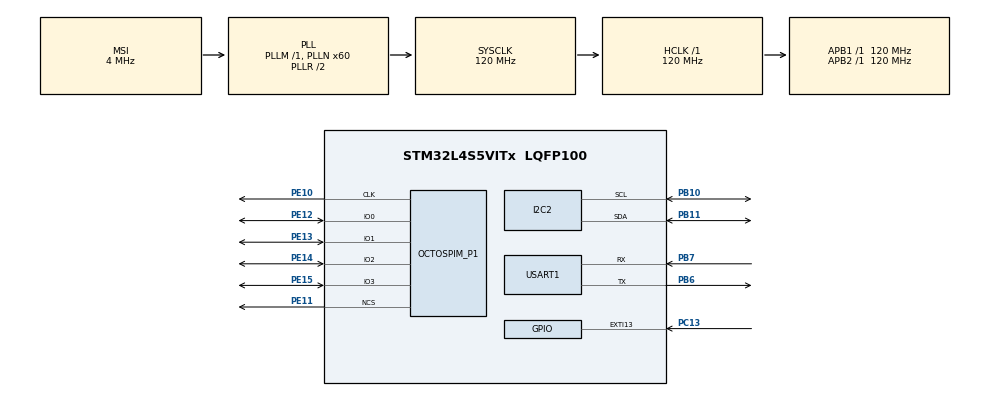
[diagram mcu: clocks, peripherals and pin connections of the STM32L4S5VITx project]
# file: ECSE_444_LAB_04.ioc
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FREERTOS.Tasks01=defaultTask,0,256,StartDefaultTask,Default,NULL,Dynamic,NULL,NULL;UartTask,-3,256,StartUartTask,Default,NULL,Dynamic,NULL,NULL;ButtonTask,0,128,StartButtonTask,Default,NULL,Dynamic,NULL,NULL
I2C2.Timing=0x307075B1
Mcu.Family=STM32L4
Mcu.Name=STM32L4S5VITx
Mcu.Package=LQFP100
NVIC.EXTI15_10_IRQn=true\:5\:0\:false\:false\:true\:true\:true\:true\:true
NVIC.PriorityGroup=NVIC_PRIORITYGROUP_4
NVIC.TIM6_DAC_IRQn=true\:15\:0\:false\:false\:true\:false\:false\:true\:true
NVIC.TimeBase=TIM6_DAC_IRQn
NVIC.TimeBaseIP=TIM6
PB10.Mode=I2C
PB10.Signal=I2C2_SCL
PB11.Mode=I2C
PB11.Signal=I2C2_SDA
PB6.Mode=Asynchronous
PB6.Signal=USART1_TX
PB7.Mode=Asynchronous
PB7.Signal=USART1_RX
PC13.Signal=GPXTI13
PE10.Mode=O1_P1_CLK
PE10.Signal=OCTOSPIM_P1_CLK
PE11.Mode=OCTOSPI1_Port1_NCS
PE11.Signal=OCTOSPIM_P1_NCS
PE12.Mode=OCTOSPI1_IOL_Port1L
PE12.Signal=OCTOSPIM_P1_IO0
PE13.Mode=OCTOSPI1_IOL_Port1L
PE13.Signal=OCTOSPIM_P1_IO1
PE14.Mode=OCTOSPI1_IOL_Port1L
PE14.Signal=OCTOSPIM_P1_IO2
PE15.Mode=OCTOSPI1_IOL_Port1L
PE15.Signal=OCTOSPIM_P1_IO3
ProjectManager.HeapSize=0x200
ProjectManager.StackSize=0x400
ProjectManager.TargetToolchain=STM32CubeIDE
RCC.ADCFreq_Value=48000000
RCC.AHBFreq_Value=120000000
RCC.APB1Freq_Value=120000000
RCC.APB1TimFreq_Value=120000000
RCC.APB2Freq_Value=120000000
RCC.APB2TimFreq_Value=120000000
RCC.CortexFreq_Value=120000000
RCC.HCLKFreq_Value=120000000
RCC.HSE_VALUE=8000000
RCC.HSI48_VALUE=48000000
RCC.HSI_VALUE=16000000
RCC.LSE_VALUE=32768
RCC.MSI_VALUE=4000000
RCC.PLLN=60
RCC.PLLSAI1N=24
RCC.SYSCLKFreq_VALUE=120000000
RCC.SYSCLKSource=RCC_SYSCLKSOURCE_PLLCLK
RCC.USBFreq_Value=48000000
RCC.VCOOutputFreq_Value=240000000
USART1.VirtualMode-Asynchronous=VM_ASYNC
VP_FREERTOS_VS_CMSIS_V1.Mode=CMSIS_V1
VP_OCTOSPI1_VS_quad.Mode=quad_mode
VP_SYS_VS_tim6.Mode=TIM6
board=B-L4S5I-IOT01A

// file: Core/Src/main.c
/* USER CODE BEGIN Header */
/**
  ******************************************************************************
  * @file           : main.c
  * @brief          : Main program body
  ******************************************************************************
  * @attention
  *
  * Copyright (c) 2025 STMicroelectronics.
  * All rights reserved.
  *
  * This software is licensed under terms that can be found in the LICENSE file
  * in the root directory of this software component.
  * If no LICENSE file comes with this software, it is provided AS-IS.
  *
  ******************************************************************************
  ******************************************************************************
	TODO:
	* make sure read and write in correct format from QSPI flash for all sensors (functions written, not yet tested) -> DONE
	*
	* calculate statistics for sensor values
	* function to display statistics for sensor values (modify Uart_Print_Sensor and sensorState logic)
	* make sure sequence of get data -> store in flash -> read from flash -> display all is WORKING
	* add OS and fuck everything up
	*
  */
/* USER CODE END Header */
#include "main.h"
#include "cmsis_os.h"
#include "i2c.h"
#include "octospi.h"
#include "usart.h"
#include "gpio.h"

/* USER CODE BEGIN Includes */
#include "stm32l4s5i_iot01_gyro.h"
#include "stm32l4s5i_iot01_accelero.h"
#include "stm32l4s5i_iot01_magneto.h"
#include "stm32l4s5i_iot01_hsensor.h"
#include "stm32l4s5i_iot01_psensor.h"
#include "stm32l4s5i_iot01_tsensor.h"
#include "stm32l4s5i_iot01_qspi.h"
#include "stm32l4s5i_iot01.h"
#include "stm32l4xx_hal_conf.h"
#include "stm32l4xx_it.h"
#include "stdio.h"
#include "string.h"
/* USER CODE END Includes */

/* USER CODE BEGIN PD */

// ifdef Defines
#define Part PART_4
#define PART_1 1
#define PART_2 2
#define PART_3 3
#define PART_35 5
#define PART_4 4

/*
 * MOVED TO MAIN.H
// Pin Defines
#define BUTTON_PIN GPIO_PIN_13
#define BUTTON_PORT GPIOC

// Number of Samples
#define NUM_SAMPLES 100

// Number of Sensors
#define NUM_SENSORS 4

// Flash addresses for sensor data
#define FLASH_BLOCK_ADDR 		0x000000
#define TEMP_FLASH_ADDR			0x000000
#define PRESSURE_FLASH_ADDR  	0x001000
#define MAG_FLASH_ADDR			0x002000
#define ACCEL_FLASH_ADDR		0x003000
*/

/* USER CODE END PD */

/* USER CODE BEGIN PV */

// Create data structure to store sensor data
char uartBuffer[256];
float tempSample, pressureSample;
int16_t magSample[3], accelSample[3];
volatile uint8_t sensorState;
// enum {Temperature, Pressure, Magneto, Accelero, Statistics, StateCount};// moved to main.h

// Create data structure to store samples from sensor
float tempData[NUM_SAMPLES];
float pressureData[NUM_SAMPLES];
int16_t magData[NUM_SAMPLES][3];
int16_t accelData[NUM_SAMPLES][3];

// Counter for number of samples taken from each sensor
uint16_t sampleCount[StateCount] = {0};

// Create data structure to store sensor data read from flash
float tempDataFlashRead[NUM_SAMPLES];
float pressureDataFlashRead[NUM_SAMPLES];
int16_t magDataFlashRead[NUM_SAMPLES][3];
int16_t accelDataFlashRead[NUM_SAMPLES][3];

// Print sensors flag
volatile bool printDataFlag = 0;

/* USER CODE END PV */

void SystemClock_Config(void);
void MX_FREERTOS_Init(void);
/* USER CODE BEGIN PFP */
void Read_Sensor();
void Uart_Display_Statistics();
void Uart_Print_Sensor();
void Sensors_Write_to_Flash();
void Sensors_Read_from_Flash();

/* USER CODE END PFP */

/* USER CODE BEGIN 0 */

// User Functions

#if Part == PART_1
/**
 * @name Uart_Read_Print_Sensor
 *
 * Reads the sensor indicated by the global @p sensor_toggle and sends a
 * human-readable string to the serial terminal via @p huart1.
 *
 * @param[in] Global: sensorState (enum) Selects the active sensor to poll.
 * @param[in,out] Global: huart1 (handle) The UART interface for transmission.
 */

void Uart_Read_Print_Sensor(){

	// Choose what data to TX
	switch (sensorState){
		case(Temperature):{
			tempSample = BSP_TSENSOR_ReadTemp();
			int len = snprintf(uartBuffer, sizeof(uartBuffer), "Temperature: %.2f \r\n", tempSample);
			HAL_UART_Transmit(&huart1, (uint8_t *)uartBuffer, len, 100);
			break;
		}
		case(Pressure):{
			  pressureSample = 	BSP_PSENSOR_ReadPressure();
			  int len = snprintf(uartBuffer, sizeof(uartBuffer), "Pressure: %.2f \r\n", pressureSample);
			  HAL_UART_Transmit(&huart1, (uint8_t *)uartBuffer, len, 100);
			break;
		}
		case(Magneto):{
			  int16_t magSample[3];
			  BSP_MAGNETO_GetXYZ(magSample);
			  int len = snprintf(uartBuffer, sizeof(uartBuffer), "Magneto: X: %d, Y: %d, Z: %d\r\n",
			                     magSample[0], magSample[1], magSample[2]);
			  HAL_UART_Transmit(&huart1, (uint8_t *)uartBuffer, len, 100);
			break;
		}
		case(Accelero):{
			  int16_t accelData[3];
			  BSP_ACCELERO_AccGetXYZ(accelData);
			  int len = snprintf(uartBuffer, sizeof(uartBuffer), "Accelero: X: %d, Y: %d, Z: %d\r\n",
					  accelData[0], accelData[1], accelData[2]);
			  HAL_UART_Transmit(&huart1, (uint8_t *)uartBuffer, len, 100);
			break;
		}
	} // switch

} // Uart_Read_Print_Sensor

#endif

/**
 * @name Read_Sensor
 *
 * Read all sensors
 *
 * @param[in] Global: sensorState (enum) Selects the active sensor to poll.
 */

void Read_Sensor(){

	// Choose what data to TX
	tempSample = BSP_TSENSOR_ReadTemp(); // get sample from sensor
	tempData[sampleCount[Temperature]] = tempSample; // store sensor sample in data array at count index

	pressureSample = 	BSP_PSENSOR_ReadPressure(); // get sample from sensor
	pressureData[sampleCount[Pressure]] = pressureSample; // store sensor sample in data array at count index

	BSP_MAGNETO_GetXYZ(magSample); // get sample from sensor

   for (uint8_t i = 0; i < 3; i++) {
	  magData[sampleCount[Magneto]][i] = magSample[i]; // store sensor sample in data array at count index
    } // for

	BSP_ACCELERO_AccGetXYZ(accelSample); // get sample from sensor

    for (uint8_t i = 0; i < 3; i++) {
	   accelData[sampleCount[Accelero]][i] = accelSample[i]; // store sensor sample in data array at count index
    } // for

	// Increment sampleCount at polled sensor index
    	// originially had seperate indices because took samples at different times adn now don't
    for (uint8_t i = 0; i < NUM_SENSORS; i++) {
    	sampleCount[i]++;
    }

	// If filled, reset buffer back to 0 and next iteration will start overwriting
	if (sampleCount[1] > (NUM_SAMPLES - 1)) {

		// reset iterations back to 0
	    for (uint8_t i = 0; i < NUM_SENSORS; i++) {
	    	sampleCount[i] = 0;
	    }

		// save sensor data to flash
		Sensors_Write_to_Flash();
	} // if

} // void Read_Sensor()

/**
 * @name Uart_Display_Statistics
 *
 * Calculate statistics from data stored in flash and display on serial terminal via @p huart1.
 *
 * @param[in] Global: sensorState (enum) Selects which sensor data to print
 * @param[in] Global: xSample: takes most recent sample from given sensor (DOES NOT GRAB FROM xData BUFFERS)
 */

void Uart_Display_Statistics(){

	// sources:
		// https://arm-software.github.io/CMSIS-DSP/main/group__VarianceExample.html

	// Pull all 4 buffers from flash
		// assume by the time a human has time to do the 4th button press, we have enough data in flash to display statistics
	Sensors_Read_from_Flash();

	// Calculate statistics
		// For each sensor, display: number of samples, sample mean, and sample variance

	float tempDataSum = 0;
	float pressureDataSum = 0;
	float magDataSum[3] = {0};
	float accelDataSum[3] = {0};

	float tempDataMean = 0;
	float pressureDataMean = 0;
	float magDataMean[3] = {0};
	float accelDataMean[3] = {0};

	float tempDataVariance = 0;
	float pressureDataVariance = 0;
	float magDataVariance[3] = {0};
	float accelDataVariance[3] = {0};

	float diff[3] = {0};

	// Calculate the sum
	for (uint8_t i = 0; i < NUM_SAMPLES; i++) {

		tempDataSum += tempDataFlashRead[i];
		pressureDataSum += pressureDataFlashRead[i];

		for (uint8_t j = 0; j < 3; j++) {
			magDataSum[j] += (float)magDataFlashRead[i][j];
			accelDataSum[j] += (float)accelDataFlashRead[i][j];

		} // for j
	} // for i

	// Calculate the mean
		//  x' = (x[0] + x[1] + ... + x[n-1]) / N
	tempDataMean = tempDataSum/(float)NUM_SAMPLES;
	pressureDataMean = pressureDataSum/100.0f;

	for (uint8_t j = 0; j < 3; j++) {
		magDataMean[j] = magDataSum[j]/(float)NUM_SAMPLES;
		accelDataMean[j] = accelDataSum[j]/(float)NUM_SAMPLES;
	} // for j

	// Calculate the variance
		// variance = ((x[0] - x') * (x[0] - x') + (x[1] - x') * (x[1] - x') + ... + * (x[n-1] - x') * (x[n-1] - x')) / (N)

	for (uint8_t i = 0; i < NUM_SAMPLES; i++) {

		diff[1] = tempDataFlashRead[i] - tempDataMean;
		tempDataVariance += diff[1]*diff[1];

		diff[1] = pressureDataFlashRead[i] - pressureDataMean;
		pressureDataVariance += diff[1]*diff[1];

		for (uint8_t j = 0; j < 3; j++) {

			diff[j] = (float)magDataFlashRead[i][j] - magDataMean[j];
			magDataVariance[j] += diff[j]*diff[j];

			diff[j] = (float)accelDataFlashRead[i][j] - accelDataMean[j];
			accelDataVariance[j] += diff[j]*diff[j];

		} // for j
	} // for i

	tempDataVariance = tempDataVariance / (float)(NUM_SAMPLES);
	pressureDataVariance = pressureDataVariance / (float)(NUM_SAMPLES);

	for (uint8_t j = 0; j < 3; j++) {

		magDataVariance[j] = magDataVariance[j]/(float)(NUM_SAMPLES);

		accelDataVariance[j] = accelDataVariance[j]/(float)(NUM_SAMPLES);

	} // for j

	// Display statistics

	//number of samples, sample mean, and sample variance

		// display number of samples
	uint8_t len = snprintf(uartBuffer, sizeof(uartBuffer), "\nNUMBER OF SAMPLES: %d\r\n\n", (uint8_t)NUM_SAMPLES);
	HAL_UART_Transmit(&huart1, (uint8_t *)uartBuffer, len, 100);

		// display sample mean

	len = snprintf(uartBuffer, sizeof(uartBuffer), "MEANS:\r\n");
	HAL_UART_Transmit(&huart1, (uint8_t *)uartBuffer, len, 100);

	len = snprintf(uartBuffer, sizeof(uartBuffer), "Temperature Mean: %f\r\n", tempDataMean);
	HAL_UART_Transmit(&huart1, (uint8_t *)uartBuffer, len, 100);

	len = snprintf(uartBuffer, sizeof(uartBuffer), "Pressure Mean: %f\r\n", pressureDataMean);
	HAL_UART_Transmit(&huart1, (uint8_t *)uartBuffer, len, 100);

	len = snprintf(uartBuffer, sizeof(uartBuffer), "Magneto Mean: X: %f, Y: %f, Z: %f\r\n",
			magDataMean[0], magDataMean[1], magDataMean[2]);
	HAL_UART_Transmit(&huart1, (uint8_t *)uartBuffer, len, 100);

	len = snprintf(uartBuffer, sizeof(uartBuffer), "Accel Mean: X: %f, Y: %f, Z: %f\r\n\n",
			accelDataMean[0], accelDataMean[1], accelDataMean[2]);
	HAL_UART_Transmit(&huart1, (uint8_t *)uartBuffer, len, 100);

		// display sample variance
	len = snprintf(uartBuffer, sizeof(uartBuffer), "VARIANCES:\r\n");
	HAL_UART_Transmit(&huart1, (uint8_t *)uartBuffer, len, 100);

	len = snprintf(uartBuffer, sizeof(uartBuffer), "Temperature Variance: %f\r\n", tempDataVariance);
	HAL_UART_Transmit(&huart1, (uint8_t *)uartBuffer, len, 100);

	len = snprintf(uartBuffer, sizeof(uartBuffer), "Pressure Variance: %f\r\n", pressureDataVariance);
	HAL_UART_Transmit(&huart1, (uint8_t *)uartBuffer, len, 100);

	len = snprintf(uartBuffer, sizeof(uartBuffer), "Magneto Variance: X: %f, Y: %f, Z: %f\r\n",
			magDataVariance[0], magDataVariance[1], magDataVariance[2]);
	HAL_UART_Transmit(&huart1, (uint8_t *)uartBuffer, len, 100);

	len = snprintf(uartBuffer, sizeof(uartBuffer), "Accel Variance: X: %f, Y: %f, Z: %f\r\n\n",
			accelDataVariance[0], accelDataVariance[1], accelDataVariance[2]);
	HAL_UART_Transmit(&huart1, (uint8_t *)uartBuffer, len, 100);

	printDataFlag = false;

} // void Uart_Display_Statistics(){

/**
 * @name Uart_Print_Sensor
 *
 * Sends a human-readable string to the serial terminal via @p huart1.
 *
 * @param[in] Global: sensorState (enum) Selects which sensor data to print
 * @param[in] Global: xSample: takes most recent sample from given sensor (DOES NOT GRAB FROM xData BUFFERS)
 */

void Uart_Print_Sensor(){

	// Choose what data to TX
	switch (sensorState){
		case(Temperature):{
			int len = snprintf(uartBuffer, sizeof(uartBuffer), "Temperature: %.2f \r\n", tempSample);
			HAL_UART_Transmit(&huart1, (uint8_t *)uartBuffer, len, 100);
			break;
		}
		case(Pressure):{
			  int len = snprintf(uartBuffer, sizeof(uartBuffer), "Pressure: %.2f \r\n", pressureSample);
			  HAL_UART_Transmit(&huart1, (uint8_t *)uartBuffer, len, 100);
			break;
		}
		case(Magneto):{
			  int len = snprintf(uartBuffer, sizeof(uartBuffer), "Magneto: X: %d, Y: %d, Z: %d\r\n",
			                     magSample[0], magSample[1], magSample[2]);
			  HAL_UART_Transmit(&huart1, (uint8_t *)uartBuffer, len, 100);
			break;
		}
		case(Accelero):{
			  int len = snprintf(uartBuffer, sizeof(uartBuffer), "Accelero: X: %d, Y: %d, Z: %d\r\n",
					  accelSample[0], accelSample[1], accelSample[2]);
			  HAL_UART_Transmit(&huart1, (uint8_t *)uartBuffer, len, 100);
			break;
		}
		case(Statistics): {
			Uart_Display_Statistics();
			break;
		}
	} // switch

} // Uart_Print_Sensor

/**
 * @name Uart_Print_Sensor_State
 *
 * Sends a human-readable string to the serial terminal via @p huart1.
 *
 * @param[in] Global: sensorState (enum) Selects which sensor data to print
 * @param[in] Global: xSample: takes most recent sample from given sensor (DOES NOT GRAB FROM xData BUFFERS)
 */

void Uart_Print_Sensor_State(SensorState state){

	// Choose what data to TX
	switch (state){
		case(Temperature):{
			int len = snprintf(uartBuffer, sizeof(uartBuffer), "Temperature: %.2f \r\n", tempSample);
			HAL_UART_Transmit(&huart1, (uint8_t *)uartBuffer, len, 100);
			break;
		}
		case(Pressure):{
			  int len = snprintf(uartBuffer, sizeof(uartBuffer), "Pressure: %.2f \r\n", pressureSample);
			  HAL_UART_Transmit(&huart1, (uint8_t *)uartBuffer, len, 100);
			break;
		}
		case(Magneto):{
			  int len = snprintf(uartBuffer, sizeof(uartBuffer), "Magneto: X: %d, Y: %d, Z: %d\r\n",
			                     magSample[0], magSample[1], magSample[2]);
			  HAL_UART_Transmit(&huart1, (uint8_t *)uartBuffer, len, 100);
			break;
		}
		case(Accelero):{
			  int len = snprintf(uartBuffer, sizeof(uartBuffer), "Accelero: X: %d, Y: %d, Z: %d\r\n",
					  accelSample[0], accelSample[1], accelSample[2]);
			  HAL_UART_Transmit(&huart1, (uint8_t *)uartBuffer, len, 100);
			break;
		}
		case(Statistics): {
			if (printDataFlag) {
				Uart_Display_Statistics();
			}
			break;
		}
	} // switch

} // Uart_Print_Sensor

/**
 * @name HAL_GPIO_EXTI_Callback
 *
 * Callback for GPIO EXTI interrupts
 *
 * @param[in] Global: GPIO_Pin
 * @param[in] Global: sensorState: if BUTTON, toggle to next sensor
 */

void HAL_GPIO_EXTI_Callback(uint16_t GPIO_Pin) {

	if (GPIO_Pin == BUTTON_PIN) {

#if Part == Part_4

		// toggle to next sensor or stats
		sensorState = (sensorState + 1) % StateCount;
#if Part == PART_3
		// REMOVED TO MAKE READ_SENSOR BE CONSTANTLY HAPPENING
		// if sensor state isn't asking for statistics, don't display
		if (sensorState != Statistics) {
			// read sensor
			Read_Sensor();
		} // if
#endif

		// write sensor data to uart
		printDataFlag = true;
#endif
	} // if

} //  HAL_GPIO_EXTI_Callback

/**
 * @name Sensors_Write_to_Flash() {
 *
 * Writes data from sensor data buffers to flash
 * TODO: add error checking
 *
 * @param[in] Global: Sensor Data Buffers: tempData, pressureData, magData, accelSample
 */
void Sensors_Write_to_Flash() {

	BSP_QSPI_Erase_Block(FLASH_BLOCK_ADDR);

	// tempData[100] = 100 floats * 4B/float = 400B
    BSP_QSPI_Write((uint8_t*)tempData, TEMP_FLASH_ADDR, sizeof(tempData));

    // pressureData[100] = 100 floats * 4B/float = 400B
    BSP_QSPI_Write((uint8_t*)pressureData, PRESSURE_FLASH_ADDR, sizeof(pressureData));

    // magData[100][3] = 100 floats * 3 * 4B/float = 1200B
    BSP_QSPI_Write((uint8_t*)magData, MAG_FLASH_ADDR, sizeof(magData));

    // accelData[100][3] = 100 floats * 3 * 4B/float = 1200B
    BSP_QSPI_Write((uint8_t*)accelData, ACCEL_FLASH_ADDR, sizeof(accelData));

}

/**
 * @name Sensors_Read_from_Flash() {s
 *
 * Reads sensor data from flash to other data buffers
 *
 * @param[out] Global: Sensor Data Output Buffers: tempDataFlashRead, pressureDataFlashRead, magDataFlashRead, accelDataFlashRead
 */

void Sensors_Read_from_Flash() {

	// tempData[100] = 100 floats * 4B/float = 400B
	if (BSP_QSPI_Read((uint8_t*)tempDataFlashRead, TEMP_FLASH_ADDR, sizeof(tempDataFlashRead)) != QSPI_OK){
	      Error_Handler();
	}

    // pressureData[100] = 100 floats * 4B/float = 400B
	if (BSP_QSPI_Read((uint8_t*)pressureDataFlashRead, PRESSURE_FLASH_ADDR, sizeof(pressureDataFlashRead)) != QSPI_OK){
	      Error_Handler();
	}

    // magData[100][3] = 100 floats * 3 * 4B/float = 1200B
	if (BSP_QSPI_Read((uint8_t*)magDataFlashRead, MAG_FLASH_ADDR, sizeof(magDataFlashRead)) != QSPI_OK){
	      Error_Handler();
	}

    // accelData[100][3] = 100 floats * 3 * 4B/float = 1200B
	if (BSP_QSPI_Read((uint8_t*)accelDataFlashRead, ACCEL_FLASH_ADDR, sizeof(accelDataFlashRead)) != QSPI_OK){
	      Error_Handler();
	}

}

/* USER CODE END 0 */

int main(void)
{

  /* MCU Configuration--------------------------------------------------------*/

  /* Reset of all peripherals, Initializes the Flash interface and the Systick. */
  HAL_Init();

  /* Configure the system clock */
  SystemClock_Config();

  /* Initialize all configured peripherals */
  MX_GPIO_Init();
  MX_OCTOSPI1_Init();
  MX_I2C2_Init();
  MX_USART1_UART_Init();
  /* USER CODE BEGIN 2 */
  BSP_TSENSOR_Init();
  BSP_MAGNETO_Init();
  BSP_ACCELERO_Init();
  BSP_PSENSOR_Init();
  BSP_QSPI_Init();

#if Part == PART_3
  // Verify that QSPI Flash Functions Work
  	  // Access to 64 Mb = 8MB flash
  	  // Address range from 0->max-1 (recall *1024)
  	  	  // 0x000000 -> 0x7FFFFF
  	  	  // uint32_t address size
  	  // Data r/w in min. units of bytes
  	  	  // write is 256 bytes max
  	  	  // Block: 64kB, 0x10000 aligned
  	  	  // Sector: 4kB, 0x1000 aligned
  	  	  // Page: 256B, 0x100 aligned

  // Erase block
  // uint8_t BSP_QSPI_Erase_Block(uint32_t BlockAddress);
  uint32_t blockAddress = 0x000000;

  if (BSP_QSPI_Erase_Block(blockAddress) != QSPI_OK) {
      Error_Handler();
  }

  // Write page at block base address
  	  // uint8_t BSP_QSPI_Write (uint8_t* pData,     uint32_t WriteAddr,     uint32_t Size);
  	  // Maximum size: 256 B = 1 Page to be safe
  uint8_t writeData[256] = "Hello World"; // set size of writeData to be
  if (BSP_QSPI_Write(writeData, blockAddress, sizeof(writeData)) != QSPI_OK) {
      Error_Handler();
  }

  // Read page at block base address
  	  // uint8_t BSP_QSPI_Read (uint8_t* pData,     uint32_t ReadAddr,     uint32_t Size);
  	  // Reading back single page that was written
  uint8_t readData[256] = {0};
  if (BSP_QSPI_Read(readData, blockAddress, sizeof(readData)) != QSPI_OK) {
      Error_Handler();
  }

  // Check if read == write
  for (int i = 0; i < sizeof(readData); i++) {

	  // if fail transmit message and handle
      if (readData[i] != writeData[i]) {
          int len = snprintf(uartBuffer, sizeof(uartBuffer), "uh oh spaghettio");
          HAL_UART_Transmit(&huart1, (uint8_t *)uartBuffer, len, 100);
          Error_Handler();
      }
  }

  // if success send data read
  HAL_UART_Transmit(&huart1, (uint8_t *)readData, sizeof(readData), 100);

#endif

  /* USER CODE END 2 */

  /* Call init function for freertos objects (in cmsis_os2.c) */
  MX_FREERTOS_Init();

  /* Start scheduler */
  osKernelStart();

  /* We should never get here as control is now taken by the scheduler */

  /* Infinite loop */
  /* USER CODE BEGIN WHILE */
  while (1)
  {

	  /*
	   * Initial Testing for Part 1 Without Button
#if Part == PART_1

	  // Get temperature data and UART TX
	  tempSample = BSP_TSENSOR_ReadTemp();
	  char output[50];
	  int len = snprintf(output, sizeof(output), "Temperature: %.2f \r\n", tempSample);
	  HAL_UART_Transmit(&huart1, (uint8_t *)output, len, 100);
	  HAL_Delay(1000);

	  // Get magneto data and UART TX
	  int16_t magSample[3];
	  BSP_MAGNETO_GetXYZ(magSample);
	  char output1[64];
	  len = snprintf(output1, sizeof(output1), "Magneto: X: %d, Y: %d, Z: %d\r\n",
	                     magSample[0], magSample[1], magSample[2]);
	  HAL_UART_Transmit(&huart1, (uint8_t *)output1, len, 100);
	  HAL_Delay(1000);

	  // Get accelero data and UART TX
	  int16_t accelData[3];
	  BSP_ACCELERO_AccGetXYZ(accelData);
	  char output2[64];
	  len = snprintf(output2, sizeof(output2), "Accelero: X: %d, Y: %d, Z: %d\r\n",
			  accelData[0], accelData[1], accelData[2]);
	  HAL_UART_Transmit(&huart1, (uint8_t *)output2, len, 100);
	  HAL_Delay(1000);

	  // Get pressure data and UART TX
	  pressure = 	BSP_PSENSOR_ReadPressure();
	  char output3[50];
	  len = snprintf(output3, sizeof(output3), "pressureSample: %.2f \r\n", pressureSample);
	  HAL_UART_Transmit(&huart1, (uint8_t *)output3, len, 100);
	  HAL_Delay(1000);

	  //#if Part == PART_1
#endif
*/
// Check data data can be r/w from flash
#if PART == PART_35
	  // get data from all the sensors
	    Read_Sensor();
	    HAL_Delay(1); // dleay 1ms

	    if (printDataFlag) {
	    	printDataFlag = false;
	    	Uart_Print_Sensor();
	    }
#endif

#if Part == PART_3
	    // when arrays are filled (all at the same time, so doesn't matter which sensorState)
		if (sampleCount[sensorState] == (NUM_SAMPLES - 1)) {
			// save to flash
			Sensors_Write_to_Flash();

			// read from flash
			Sensors_Read_from_Flash();

			// print data at a few random or just read in debug
			for (uint8_t i = 0; i < 100; i++) {

				// print UART for each sensor

				// print temperature sensor
				int len = snprintf(uartBuffer, sizeof(uartBuffer), "Temperature: %.2f \r\n", tempDataFlashRead[i]);
				HAL_UART_Transmit(&huart1, (uint8_t *)uartBuffer, len, 100);

				// print pressure sensor
				len = snprintf(uartBuffer, sizeof(uartBuffer), "Pressure: %.2f \r\n", pressureDataFlashRead[i]);
				HAL_UART_Transmit(&huart1, (uint8_t *)uartBuffer, len, 100);

				// print magneto sensor
				len = snprintf(uartBuffer, sizeof(uartBuffer), "Magneto: X: %d, Y: %d, Z: %d\r\n",
				                     magDataFlashRead[i][0], magDataFlashRead[i][1], magDataFlashRead[i][2]);
				HAL_UART_Transmit(&huart1, (uint8_t *)uartBuffer, len, 100);

				// print accel sensor
				len = snprintf(uartBuffer, sizeof(uartBuffer), "Accelero: X: %d, Y: %d, Z: %d\r\n",
				accelDataFlashRead[i][0], accelDataFlashRead[i][1], accelDataFlashRead[i][2]);
				HAL_UART_Transmit(&huart1, (uint8_t *)uartBuffer, len, 100);

				// add spaces before next transmission
				len = snprintf(uartBuffer, sizeof(uartBuffer), "\r\n\r\n");
				HAL_UART_Transmit(&huart1, (uint8_t *)uartBuffer, len, 100);

			} // for
		} // if
#endif

    /* USER CODE END WHILE */

  }
}

/**
  * @bref System Clock Configuration
  * @retval None
  */
void SystemClock_Config(void)
{
  RCC_OscInitTypeDef RCC_OscInitStruct = {0};
  RCC_ClkInitTypeDef RCC_ClkInitStruct = {0};

  /** Configure the main internal regulator output voltage
  */
  if (HAL_PWREx_ControlVoltageScaling(PWR_REGULATOR_VOLTAGE_SCALE1_BOOST) != HAL_OK)
  {
    Error_Handler();
  }

  /** Initializes the RCC Oscillators according to the specified parameters
  * in the RCC_OscInitTypeDef structure.
  */
  RCC_OscInitStruct.OscillatorType = RCC_OSCILLATORTYPE_MSI;
  RCC_OscInitStruct.MSIState = RCC_MSI_ON;
  RCC_OscInitStruct.MSICalibrationValue = 0;
  RCC_OscInitStruct.MSIClockRange = RCC_MSIRANGE_6;
  RCC_OscInitStruct.PLL.PLLState = RCC_PLL_ON;
  RCC_OscInitStruct.PLL.PLLSource = RCC_PLLSOURCE_MSI;
  RCC_OscInitStruct.PLL.PLLM = 1;
  RCC_OscInitStruct.PLL.PLLN = 60;
  RCC_OscInitStruct.PLL.PLLP = RCC_PLLP_DIV2;
  RCC_OscInitStruct.PLL.PLLQ = RCC_PLLQ_DIV2;
  RCC_OscInitStruct.PLL.PLLR = RCC_PLLR_DIV2;
  if (HAL_RCC_OscConfig(&RCC_OscInitStruct) != HAL_OK)
  {
    Error_Handler();
  }

  /** Initializes the CPU, AHB and APB buses clocks
  */
  RCC_ClkInitStruct.ClockType = RCC_CLOCKTYPE_HCLK|RCC_CLOCKTYPE_SYSCLK
                              |RCC_CLOCKTYPE_PCLK1|RCC_CLOCKTYPE_PCLK2;
  RCC_ClkInitStruct.SYSCLKSource = RCC_SYSCLKSOURCE_PLLCLK;
  RCC_ClkInitStruct.AHBCLKDivider = RCC_SYSCLK_DIV1;
  RCC_ClkInitStruct.APB1CLKDivider = RCC_HCLK_DIV1;
  RCC_ClkInitStruct.APB2CLKDivider = RCC_HCLK_DIV1;

  if (HAL_RCC_ClockConfig(&RCC_ClkInitStruct, FLASH_LATENCY_5) != HAL_OK)
  {
    Error_Handler();
  }
}

/* USER CODE BEGIN 4 */
int __io__putchar(int ch){
	HAL_UART_Transmit(&huart1, (uint8_t *) &ch, 1, HAL_MAX_DELAY);
	return ch;
}
/* USER CODE END 4 */

void HAL_TIM_PeriodElapsedCallback(TIM_HandleTypeDef *htim)
{
  if (htim->Instance == TIM6)
  {
    HAL_IncTick();
  }
}

void Error_Handler(void)
{
  __disable_irq();
  while (1)
  {
  }
}

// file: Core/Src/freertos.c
/* USER CODE BEGIN Header */
/**
  ******************************************************************************
  * File Name          : freertos.c
  * Description        : Code for freertos applications
  ******************************************************************************
  * @attention
  *
  * Copyright (c) 2026 STMicroelectronics.
  * All rights reserved.
  *
  * This software is licensed under terms that can be found in the LICENSE file
  * in the root directory of this software component.
  * If no LICENSE file comes with this software, it is provided AS-IS.
  *
  ******************************************************************************
  */
/* USER CODE END Header */

#include "FreeRTOS.h"
#include "task.h"
#include "main.h"
#include "cmsis_os.h"

/* USER CODE BEGIN Includes */
#include <stdbool.h>

/* USER CODE END Includes */

/* USER CODE BEGIN PD */
osMutexId stateMutexHandle; // protection so sensor state can't be changed in the middle of trying to write data
osMutexDef(stateMutex);

/* USER CODE END PD */

/* USER CODE BEGIN Variables */
volatile bool buttonPressed = false;

/* USER CODE END Variables */
osThreadId defaultTaskHandle;
osThreadId UartTaskHandle;
osThreadId ButtonTaskHandle;

void StartDefaultTask(void const * argument);
void StartUartTask(void const * argument);
void StartButtonTask(void const * argument);

void MX_FREERTOS_Init(void); /* (MISRA C 2004 rule 8.1) */

/* GetIdleTaskMemory prototype (linked to static allocation support) */
void vApplicationGetIdleTaskMemory( StaticTask_t **ppxIdleTaskTCBBuffer, StackType_t **ppxIdleTaskStackBuffer, uint32_t *pulIdleTaskStackSize );

/* USER CODE BEGIN GET_IDLE_TASK_MEMORY */
static StaticTask_t xIdleTaskTCBBuffer;
static StackType_t xIdleStack[configMINIMAL_STACK_SIZE];

void vApplicationGetIdleTaskMemory( StaticTask_t **ppxIdleTaskTCBBuffer, StackType_t **ppxIdleTaskStackBuffer, uint32_t *pulIdleTaskStackSize )
{
  *ppxIdleTaskTCBBuffer = &xIdleTaskTCBBuffer;
  *ppxIdleTaskStackBuffer = &xIdleStack[0];
  *pulIdleTaskStackSize = configMINIMAL_STACK_SIZE;
  /* place for user code */
}
/* USER CODE END GET_IDLE_TASK_MEMORY */

void MX_FREERTOS_Init(void) {

  /* USER CODE BEGIN RTOS_MUTEX */
  /* add mutexes, ... */
	stateMutexHandle = osMutexCreate(osMutex(stateMutex)); // handle to make sure state isn't overwritten while printing
  /* USER CODE END RTOS_MUTEX */

  /* Create the thread(s) */
  /* definition and creation of defaultTask */
  osThreadDef(defaultTask, StartDefaultTask, osPriorityNormal, 0, 256);
  defaultTaskHandle = osThreadCreate(osThread(defaultTask), NULL);

  /* definition and creation of UartTask */
  osThreadDef(UartTask, StartUartTask, osPriorityIdle, 0, 256);
  UartTaskHandle = osThreadCreate(osThread(UartTask), NULL);

  /* definition and creation of ButtonTask */
  osThreadDef(ButtonTask, StartButtonTask, osPriorityNormal, 0, 128);
  ButtonTaskHandle = osThreadCreate(osThread(ButtonTask), NULL);

}

void StartDefaultTask(void const * argument)
{
  /* USER CODE BEGIN StartDefaultTask */
  /* Infinite loop */
	  for(;;)
	  {
	    osDelay(100);

	    Read_Sensor();

	  }
  /* USER CODE END StartDefaultTask */
}

void StartUartTask(void const * argument)
{
  /* USER CODE BEGIN StartUartTask */
  /* Infinite loop */
  for(;;)
  {
    osDelay(100);
    osMutexWait(stateMutexHandle, osWaitForever);
    SensorState currentState = sensorState;
    osMutexRelease(stateMutexHandle);

    Uart_Print_Sensor_State(currentState);  // always print every 100ms
  }
  /* USER CODE END StartUartTask */
}

void StartButtonTask(void const * argument)
{
  /* USER CODE BEGIN StartButtonTask */
  /* Infinite loop */
	  for(;;)
	  {
	    osDelay(10);

	    if (HAL_GPIO_ReadPin(BUTTON_PORT, BUTTON_PIN) == GPIO_PIN_RESET) {

	      // wait for release
	      while (HAL_GPIO_ReadPin(BUTTON_PORT, BUTTON_PIN) == GPIO_PIN_RESET) {
	        osDelay(10);
	      }
	      osDelay(50); // debounce release

	      osMutexWait(stateMutexHandle, osWaitForever);
	      sensorState = (sensorState + 1) % StateCount;
	      printDataFlag = true;
	      osMutexRelease(stateMutexHandle);
	    }
	  }
  /* USER CODE END StartButtonTask */
}
